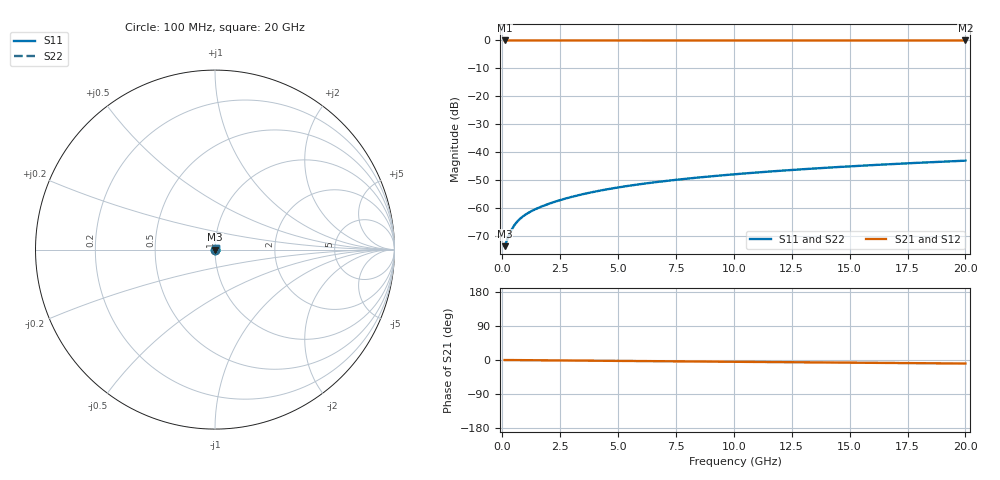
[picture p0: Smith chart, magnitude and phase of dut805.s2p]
! Touchstone file exported from HFSS 2026.1.0
!  File:  C:/ffzhzh/LocalFiles/Ansys_Project_Files/temp_train_TSV_805_1783184162_43440.aedt
!  Generated:  12:57:36 AM Jul  5, 2026
!  Design:  TSV
!  Project:  temp_train_TSV_805_1783184162_43440
! Variables:
!  h_bsmrdl = 2um
!  h_ox = 20um
!  h_rdl = 5um
!  h_sub = 97.12um
!  h_tmrdl = 5um
!  h_tsv = 97.12um
!  h_via = 3um
!  l_bsmrdl = 300um
!  l_sub = 417.4um
!  l_tmrdl = 200um
!  m_sub = 200um
!  pitch = 37.3um
!  r_tsv = 8.7um
!  s_tmrdl = 10um
!  w_bsmrdl = 18um
!  w_sub = 500um
!  w_tmrdl = 12um
!  x_tsv_center1 = 206um
!  x_tsv_center2 = 524um
!  x_tsv_center3 = 736um
!  x_tsv_center4 = 1054um
!  x_tsv_center5 = 1266um
!  x_tsv_center6 = 1584um
# GHz S MA R 50.000000
! Terminal data exported
! Port[1] = TSV1_1_T1
! Port[2] = TSV1_1_T2
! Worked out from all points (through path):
!   200 points, 100 MHz to 20 GHz, reference 50 ohm
!   highest |S21| = 0.00 dB at 100 MHz (marker M1); lowest = 0.0 dB at 20 GHz (marker M2)
!   group delay of S21, straight-line fit = 1.29 ps
!   lowest |S11| = -73.7 dB at 100 MHz (marker M3), VSWR 1.00, Z = 50 + j0.00871 ohm
!   |S11| at or under -10 dB: start of sweep to end of sweep
!   |S22| runs from -73.7 to -43.1 dB; largest |S21 - S12| = 2.5e-15
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0.1  0.0002058 25.0  0.9998 -0.0  0.9998 -0.0  0.0002058 25.0
! Gamma 0 0 0 0
! Port Impedance 50 0 50 0
0.3  0.000334 48.3  0.9998 -0.1  0.9998 -0.1  0.000334 48.3
0.4  0.0004059 52.2  0.9998 -0.2  0.9998 -0.2  0.0004059 52.2
0.5  0.0004748 54.3  0.9997 -0.2  0.9997 -0.2  0.0004748 54.3
0.6  0.0005393 55.4  0.9997 -0.3  0.9997 -0.3  0.0005393 55.4
0.7  0.0005991 56.0  0.9997 -0.3  0.9997 -0.3  0.0005991 56.0
0.8  0.0006547 56.5  0.9996 -0.4  0.9996 -0.4  0.0006547 56.5
1  0.0007558 57.2  0.9996 -0.5  0.9996 -0.5  0.0007558 57.2
1.2  0.0008477 58.0  0.9996 -0.6  0.9996 -0.6  0.0008477 58.0
1.4  0.000934 58.8  0.9995 -0.7  0.9995 -0.7  0.000934 58.8
2  0.001179 61.1  0.9994 -1.0  0.9994 -1.0  0.001179 61.1
2.7  0.001457 63.2  0.9994 -1.3  0.9994 -1.3  0.001457 63.2
3.5  0.001767 64.7  0.9993 -1.7  0.9993 -1.7  0.001767 64.7
4.2  0.002031 65.5  0.9992 -2.0  0.9992 -2.0  0.002031 65.5
5  0.002323 66.2  0.9991 -2.4  0.9991 -2.4  0.002323 66.2
5.9  0.00264 66.6  0.9991 -2.8  0.9991 -2.8  0.00264 66.6
6.8  0.002947 67.0  0.999 -3.2  0.999 -3.2  0.002947 67.0
8.3  0.003444 67.4  0.9989 -3.9  0.9989 -3.9  0.003444 67.4
10.1  0.004023 67.7  0.9988 -4.7  0.9988 -4.7  0.004022 67.7
13.4  0.005054 67.7  0.9986 -6.3  0.9986 -6.3  0.005054 67.7
16.7  0.006051 67.3  0.9984 -7.8  0.9984 -7.8  0.006051 67.3
20  0.007009 66.5  0.9983 -9.3  0.9983 -9.3  0.007008 66.5
